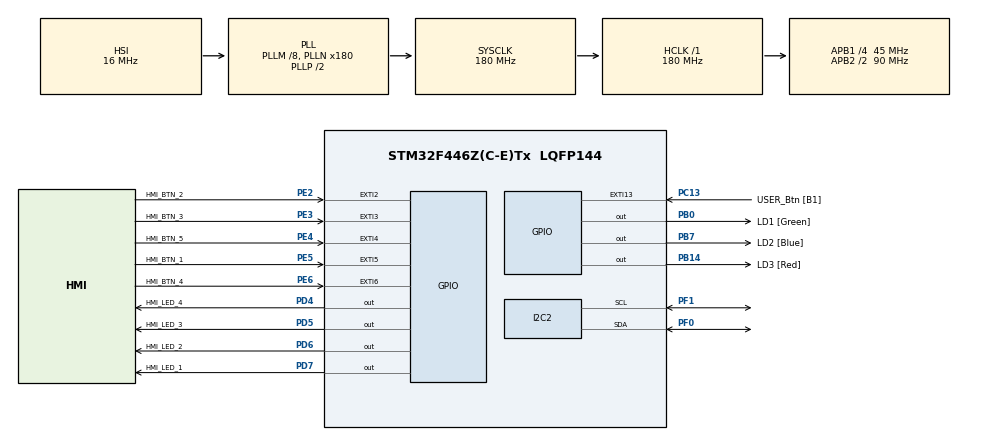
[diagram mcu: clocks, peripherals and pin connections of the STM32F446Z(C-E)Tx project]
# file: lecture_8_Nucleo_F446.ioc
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Mcu.Family=STM32F4
Mcu.Name=STM32F446Z(C-E)Tx
Mcu.Package=LQFP144
NVIC.EXTI15_10_IRQn=true\:0\:0\:false\:false\:true\:true\:true\:true
NVIC.EXTI2_IRQn=true\:0\:0\:false\:false\:true\:true\:true\:true
NVIC.EXTI3_IRQn=true\:0\:0\:false\:false\:true\:true\:true\:true
NVIC.EXTI4_IRQn=true\:0\:0\:false\:false\:true\:true\:true\:true
NVIC.EXTI9_5_IRQn=true\:0\:0\:false\:false\:true\:true\:true\:true
NVIC.PriorityGroup=NVIC_PRIORITYGROUP_4
PA13.Mode=Serial_Wire
PA13.Signal=SYS_JTMS-SWDIO
PA14.Mode=Serial_Wire
PA14.Signal=SYS_JTCK-SWCLK
PB0.GPIO_Label=LD1 [Green]
PB0.Signal=GPIO_Output
PB14.GPIO_Label=LD3 [Red]
PB14.Signal=GPIO_Output
PB7.GPIO_Label=LD2 [Blue]
PB7.Signal=GPIO_Output
PC13.GPIO_Label=USER_Btn [B1]
PC13.Signal=GPXTI13
PC14-OSC32_IN.Mode=LSE-External-Oscillator
PC14-OSC32_IN.Signal=RCC_OSC32_IN
PC15-OSC32_OUT.Mode=LSE-External-Oscillator
PC15-OSC32_OUT.Signal=RCC_OSC32_OUT
PD4.GPIO_Label=HMI_LED_4
PD4.GPIO_ModeDefaultOutputPP=GPIO_MODE_OUTPUT_PP
PD4.GPIO_PuPd=GPIO_NOPULL
PD4.GPIO_Speed=GPIO_SPEED_FREQ_LOW
PD4.PinState=GPIO_PIN_RESET
PD4.Signal=GPIO_Output
PD5.GPIO_Label=HMI_LED_3
PD5.GPIO_ModeDefaultOutputPP=GPIO_MODE_OUTPUT_PP
PD5.GPIO_PuPd=GPIO_NOPULL
PD5.GPIO_Speed=GPIO_SPEED_FREQ_LOW
PD5.PinState=GPIO_PIN_RESET
PD5.Signal=GPIO_Output
PD6.GPIO_Label=HMI_LED_2
PD6.GPIO_ModeDefaultOutputPP=GPIO_MODE_OUTPUT_PP
PD6.GPIO_PuPd=GPIO_NOPULL
PD6.GPIO_Speed=GPIO_SPEED_FREQ_LOW
PD6.PinState=GPIO_PIN_RESET
PD6.Signal=GPIO_Output
PD7.GPIO_Label=HMI_LED_1
PD7.GPIO_ModeDefaultOutputPP=GPIO_MODE_OUTPUT_PP
PD7.GPIO_PuPd=GPIO_NOPULL
PD7.GPIO_Speed=GPIO_SPEED_FREQ_LOW
PD7.PinState=GPIO_PIN_RESET
PD7.Signal=GPIO_Output
PE2.GPIO_Label=HMI_BTN_2
PE2.GPIO_ModeDefaultEXTI=GPIO_MODE_IT_RISING_FALLING
PE2.Signal=GPXTI2
PE3.GPIO_Label=HMI_BTN_3
PE3.GPIO_ModeDefaultEXTI=GPIO_MODE_IT_RISING_FALLING
PE3.Signal=GPXTI3
PE4.GPIO_Label=HMI_BTN_5
PE4.GPIO_ModeDefaultEXTI=GPIO_MODE_IT_RISING_FALLING
PE4.Signal=GPXTI4
PE5.GPIO_Label=HMI_BTN_1
PE5.GPIO_ModeDefaultEXTI=GPIO_MODE_IT_RISING_FALLING
PE5.Signal=GPXTI5
PE6.GPIO_Label=HMI_BTN_4
PE6.GPIO_ModeDefaultEXTI=GPIO_MODE_IT_RISING_FALLING
PE6.Signal=GPXTI6
PF0.Mode=I2C
PF0.Signal=I2C2_SDA
PF1.Mode=I2C
PF1.Signal=I2C2_SCL
PH0-OSC_IN.Signal=RCC_OSC_IN
PH1-OSC_OUT.Signal=RCC_OSC_OUT
ProjectManager.HeapSize=0x200
ProjectManager.StackSize=0x400
ProjectManager.TargetToolchain=STM32CubeIDE
RCC.48MHZClocksFreq_Value=24000000
RCC.AHBFreq_Value=180000000
RCC.APB1CLKDivider=RCC_HCLK_DIV4
RCC.APB1Freq_Value=45000000
RCC.APB1TimFreq_Value=90000000
RCC.APB2CLKDivider=RCC_HCLK_DIV2
RCC.APB2Freq_Value=90000000
RCC.APB2TimFreq_Value=180000000
RCC.CortexFreq_Value=180000000
RCC.HCLKFreq_Value=180000000
RCC.HSE_VALUE=8000000
RCC.HSI_VALUE=16000000
RCC.PLLM=8
RCC.PLLMUL=RCC_PLL_MUL9
RCC.PLLN=180
RCC.PLLQ=7
RCC.PRESCALERUSB=RCC_USBCLKSOURCE_PLL_DIV1_5
RCC.SYSCLKFreq_VALUE=180000000
RCC.SYSCLKSource=RCC_SYSCLKSOURCE_PLLCLK
RCC.SYSCLKSourceVirtual=RCC_SYSCLKSOURCE_PLLCLK
RCC.USBFreq_Value=51428571.428571425
RCC.VCOOutputFreq_Value=360000000
board=NUCLEO-F446ZE

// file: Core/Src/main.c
/* USER CODE BEGIN Header */
/**
  ******************************************************************************
  * @file           : main.c
  * @brief          : Main program body
  ******************************************************************************
  * @attention
  *
  * Copyright (c) 2024 STMicroelectronics.
  * All rights reserved.
  *
  * This software is licensed under terms that can be found in the LICENSE file
  * in the root directory of this software component.
  * If no LICENSE file comes with this software, it is provided AS-IS.
  *
  ******************************************************************************
  */
/* USER CODE END Header */
#include "main.h"
#include "i2c.h"
#include "gpio.h"

/* USER CODE BEGIN Includes */
#include "light_sensor.h"
/* USER CODE END Includes */

/* USER CODE BEGIN PV */

// LED limit levels
const uint16_t LIMIT_OFF = 1000;
const uint16_t LIMIT_1 = 2000;
const uint16_t LIMIT_2 = 3000;
const uint16_t LIMIT_3 = 4000;
/* USER CODE END PV */

void SystemClock_Config(void);

int main(void)
{

  /* MCU Configuration--------------------------------------------------------*/

  /* Reset of all peripherals, Initializes the Flash interface and the Systick. */
  HAL_Init();

  /* Configure the system clock */
  SystemClock_Config();

  /* Initialize all configured peripherals */
  MX_GPIO_Init();
  MX_I2C2_Init();

  /* Infinite loop */
  /* USER CODE BEGIN WHILE */

  // Switch on the light sensor
  Light_Sensor_Power_On(SIMPLE_MODE);

  while (1)
  {
    /* USER CODE END WHILE */

    /* USER CODE BEGIN 3 */
	  // Measured data reading
	  uint16_t light_sensor_value = Light_Sensor_Read_Value(SIMPLE_MODE);

	  // Switch on the LEDs based on the measured value and the limit levels
	  if (light_sensor_value < LIMIT_OFF)
	  {
		  HAL_GPIO_WritePin(HMI_LED_1_GPIO_Port, HMI_LED_1_Pin, GPIO_PIN_RESET);
		  HAL_GPIO_WritePin(HMI_LED_2_GPIO_Port, HMI_LED_2_Pin, GPIO_PIN_RESET);
		  HAL_GPIO_WritePin(HMI_LED_3_GPIO_Port, HMI_LED_3_Pin, GPIO_PIN_RESET);
		  HAL_GPIO_WritePin(HMI_LED_4_GPIO_Port, HMI_LED_4_Pin, GPIO_PIN_RESET);
	  }
	  else if (light_sensor_value < LIMIT_1)
	  {
		  HAL_GPIO_WritePin(HMI_LED_1_GPIO_Port, HMI_LED_1_Pin, GPIO_PIN_SET);
		  HAL_GPIO_WritePin(HMI_LED_2_GPIO_Port, HMI_LED_2_Pin, GPIO_PIN_RESET);
		  HAL_GPIO_WritePin(HMI_LED_3_GPIO_Port, HMI_LED_3_Pin, GPIO_PIN_RESET);
		  HAL_GPIO_WritePin(HMI_LED_4_GPIO_Port, HMI_LED_4_Pin, GPIO_PIN_RESET);
	  }
	  else if (light_sensor_value < LIMIT_2)
	  {
		  HAL_GPIO_WritePin(HMI_LED_1_GPIO_Port, HMI_LED_1_Pin, GPIO_PIN_SET);
		  HAL_GPIO_WritePin(HMI_LED_2_GPIO_Port, HMI_LED_2_Pin, GPIO_PIN_SET);
		  HAL_GPIO_WritePin(HMI_LED_3_GPIO_Port, HMI_LED_3_Pin, GPIO_PIN_RESET);
		  HAL_GPIO_WritePin(HMI_LED_4_GPIO_Port, HMI_LED_4_Pin, GPIO_PIN_RESET);
	  }
	  else if (light_sensor_value < LIMIT_3)
	  {
		  HAL_GPIO_WritePin(HMI_LED_1_GPIO_Port, HMI_LED_1_Pin, GPIO_PIN_SET);
		  HAL_GPIO_WritePin(HMI_LED_2_GPIO_Port, HMI_LED_2_Pin, GPIO_PIN_SET);
		  HAL_GPIO_WritePin(HMI_LED_3_GPIO_Port, HMI_LED_3_Pin, GPIO_PIN_SET);
		  HAL_GPIO_WritePin(HMI_LED_4_GPIO_Port, HMI_LED_4_Pin, GPIO_PIN_RESET);
	  }
	  else
	  {
		  HAL_GPIO_WritePin(HMI_LED_1_GPIO_Port, HMI_LED_1_Pin, GPIO_PIN_SET);
		  HAL_GPIO_WritePin(HMI_LED_2_GPIO_Port, HMI_LED_2_Pin, GPIO_PIN_SET);
		  HAL_GPIO_WritePin(HMI_LED_3_GPIO_Port, HMI_LED_3_Pin, GPIO_PIN_SET);
		  HAL_GPIO_WritePin(HMI_LED_4_GPIO_Port, HMI_LED_4_Pin, GPIO_PIN_SET);
	  }
  }
  /* USER CODE END 3 */
}

void SystemClock_Config(void)
{
  RCC_OscInitTypeDef RCC_OscInitStruct = {0};
  RCC_ClkInitTypeDef RCC_ClkInitStruct = {0};

  /** Configure the main internal regulator output voltage
  */
  __HAL_RCC_PWR_CLK_ENABLE();
  __HAL_PWR_VOLTAGESCALING_CONFIG(PWR_REGULATOR_VOLTAGE_SCALE1);

  /** Initializes the RCC Oscillators according to the specified parameters
  * in the RCC_OscInitTypeDef structure.
  */
  RCC_OscInitStruct.OscillatorType = RCC_OSCILLATORTYPE_HSI;
  RCC_OscInitStruct.HSIState = RCC_HSI_ON;
  RCC_OscInitStruct.HSICalibrationValue = RCC_HSICALIBRATION_DEFAULT;
  RCC_OscInitStruct.PLL.PLLState = RCC_PLL_ON;
  RCC_OscInitStruct.PLL.PLLSource = RCC_PLLSOURCE_HSI;
  RCC_OscInitStruct.PLL.PLLM = 8;
  RCC_OscInitStruct.PLL.PLLN = 180;
  RCC_OscInitStruct.PLL.PLLP = RCC_PLLP_DIV2;
  RCC_OscInitStruct.PLL.PLLQ = 7;
  RCC_OscInitStruct.PLL.PLLR = 2;
  if (HAL_RCC_OscConfig(&RCC_OscInitStruct) != HAL_OK)
  {
    Error_Handler();
  }

  /** Activate the Over-Drive mode
  */
  if (HAL_PWREx_EnableOverDrive() != HAL_OK)
  {
    Error_Handler();
  }

  /** Initializes the CPU, AHB and APB buses clocks
  */
  RCC_ClkInitStruct.ClockType = RCC_CLOCKTYPE_HCLK|RCC_CLOCKTYPE_SYSCLK
                              |RCC_CLOCKTYPE_PCLK1|RCC_CLOCKTYPE_PCLK2;
  RCC_ClkInitStruct.SYSCLKSource = RCC_SYSCLKSOURCE_PLLCLK;
  RCC_ClkInitStruct.AHBCLKDivider = RCC_SYSCLK_DIV1;
  RCC_ClkInitStruct.APB1CLKDivider = RCC_HCLK_DIV4;
  RCC_ClkInitStruct.APB2CLKDivider = RCC_HCLK_DIV2;

  if (HAL_RCC_ClockConfig(&RCC_ClkInitStruct, FLASH_LATENCY_5) != HAL_OK)
  {
    Error_Handler();
  }
}

void Error_Handler(void)
{
  __disable_irq();
  while (1)
  {
  }
}
